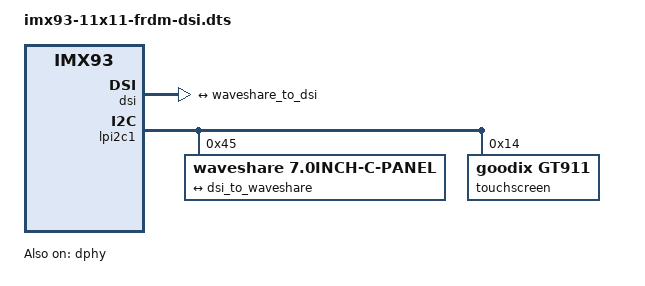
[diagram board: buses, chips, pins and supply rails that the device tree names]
// SPDX-License-Identifier: (GPL-2.0+ OR MIT)
/*
 * Copyright 2024 NXP
 */

#include "imx93-11x11-frdm.dts"

&lvds_bridge {
	status = "disabled";
};

&ldb {
	status = "disabled";
};

&ldb_phy {
	status = "disabled";
};

&dphy {
	status = "okay";
};

&dsi {
	status = "okay";

	ports {
		port@1{
			reg = <1>;

			dsi_to_waveshare: endpoint {
				remote-endpoint = <&waveshare_to_dsi>;
			};
		};
	};
};

&lcdif {
	//assigned-clock-rates = <484000000>, <121000000>, <400000000>, <133333333>;
	assigned-clock-rates = <400000000>, <50000000>, <400000000>, <133333333>;
};

&lpi2c1 {
	waveshare: panel@45{
		compatible = "waveshare,7.0inch-c-panel";
		reg = <0x45>;
		status = "okay";

		port{
			waveshare_to_dsi: endpoint{
				remote-endpoint= <&dsi_to_waveshare>;
			};
		};
	};
	touchscreen@14{
		reg = <0x14>;
		compatible = "goodix,gt911";
		touchscreen-size-x = <1024>;
		touchscreen-size-y = <600>;
	};
};
